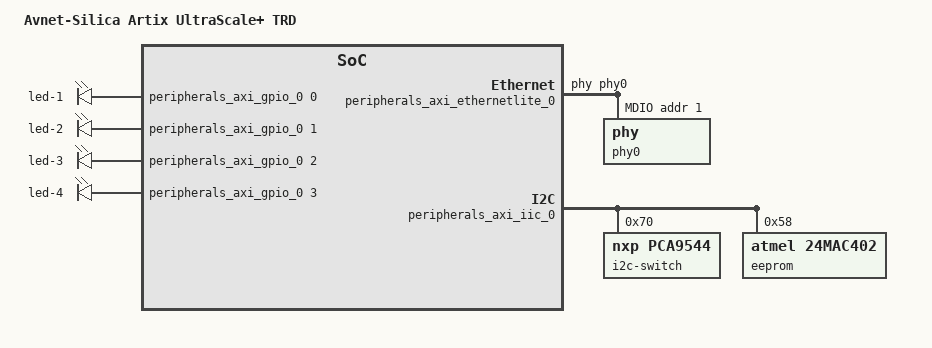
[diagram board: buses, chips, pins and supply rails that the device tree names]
/ {
	model = "Avnet-Silica Artix UltraScale+ TRD";


/* bootargs down't work, needs to be set in petalinux config */
	chosen {
/*		bootargs = "console=ttyUL0,115200 earlycon root=/dev/ram0 rw cma=128M uio_pdrv_genirq.of_id=generic-uio"; */
		bootargs = "console=ttyUL0,115200 root=ubi0:rootfs rw ubi.mtd=spi0-ubi rootfstype=ubifs rootwait cma=128M uio_pdrv_genirq.of_id=generic-uio";
		stdout-path = "serial0:115200n8";
	};

	gpio-leds {
		compatible = "gpio-leds";
		led1 {
			label = "led-1";
			gpios = <&peripherals_axi_gpio_0 0 0>;
			default-state = "on";
			linux,default-trigger = "heartbeat";
		};
		led2 {
			label = "led-2";
			gpios = <&peripherals_axi_gpio_0 1 0>;
			default-state = "off";
		};
		led3 {
			label = "led-3";
			gpios = <&peripherals_axi_gpio_0 2 0>;
			default-state = "off";
		};
		led4 {
			label = "led-4";
			gpios = <&peripherals_axi_gpio_0 3 0>;
			default-state = "off";
		};
	};

	udmabuf@0x00 {
		compatible = "ikwzm,u-dma-buf";
		device-name = "udmabuf0";
		minor-number = <0>;
		size = <0x00400000>;
	};
};

/*
&peripherals_hier_dfxc_timer {
	status = "disabled";
};
*/


&peripherals_dfx_controller_0 {
	compatible = "generic-uio";
};


/*
&peripherals_axi_hwicap_0 {
	compatible = "generic-uio";
};
*/

&peripherals_axi_ethernetlite_0 {
	local-mac-address = [00 0a 35 00 22 22];
	phy-handle = <&phy0>;
	xlnx,has-mdio = <0x1>;
	mdio {
		#address-cells = <1>;
		#size-cells = <0>;
		phy0: phy@1 {
			device_type = "ethernet-phy";
			reg = <1>;
		};
	};
};

&peripherals_axi_iic_0 {
	i2c-switch@70 {
		compatible = "nxp,pca9544";
		#address-cells = <1>;
		#size-cells = <0>;
		reg = <0x70>;
	};
	eeprom: eeprom@58 {
		compatible = "atmel,24mac402";
		reg = <0x58>;
	};
};

